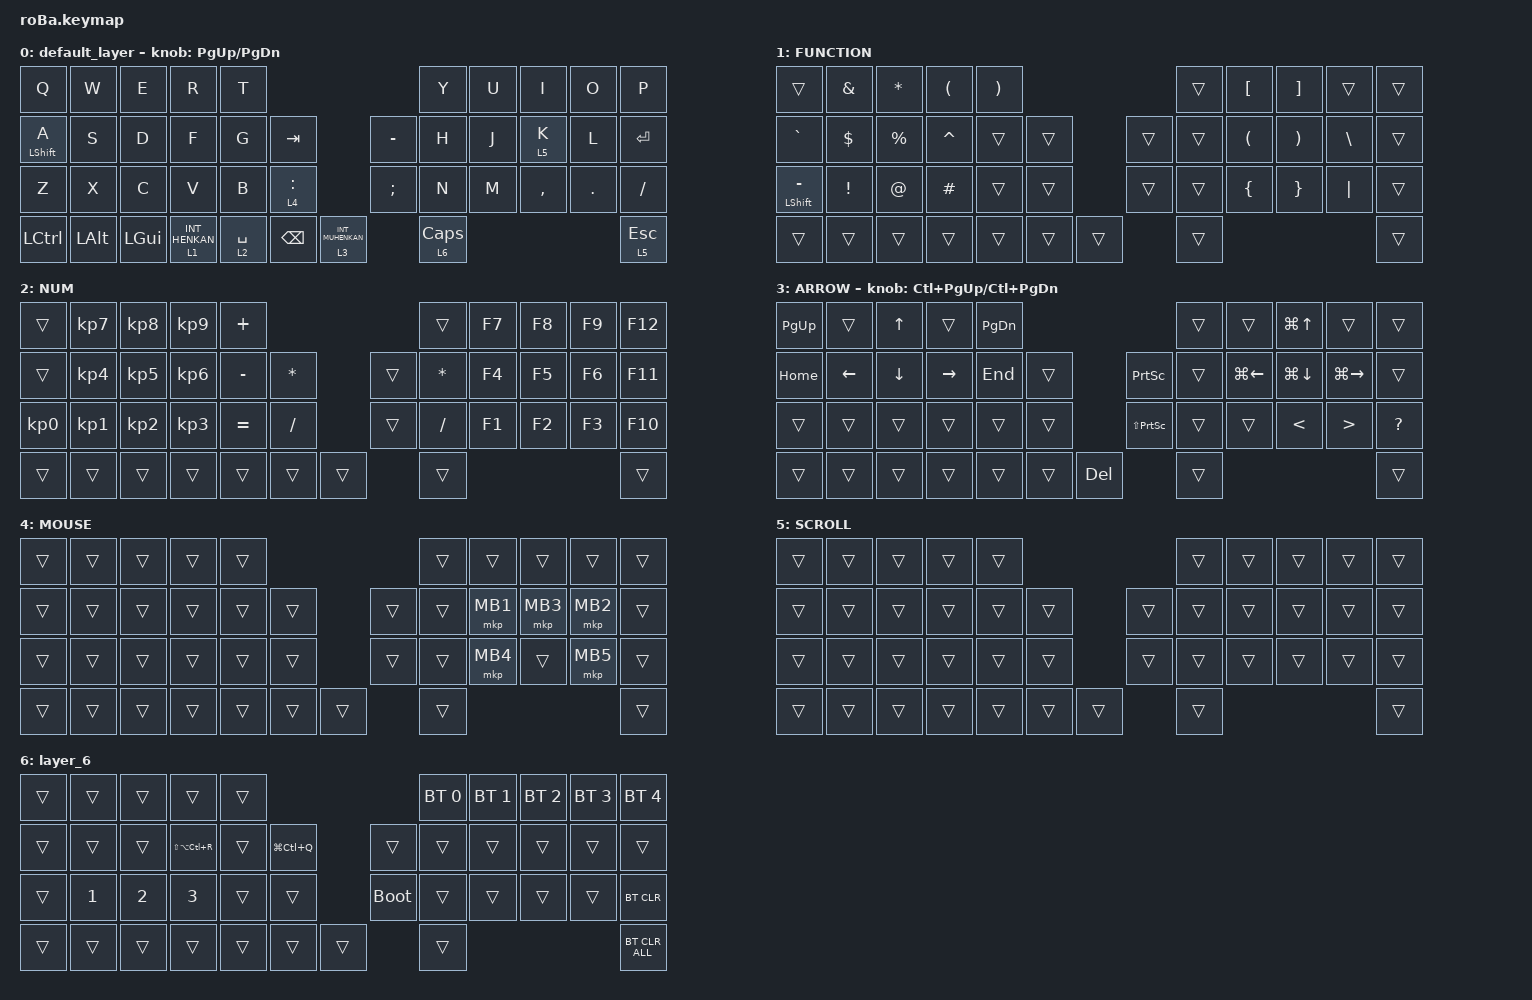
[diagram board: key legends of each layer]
#include <behaviors.dtsi>
#include <dt-bindings/zmk/bt.h>
#include <dt-bindings/zmk/keys.h>
#include <dt-bindings/zmk/pointing.h>

&mt {
    flavor = "balanced";
    quick-tap-ms = <0>;
};

&trackball {
    automouse-layer = <4>;
    scroll-layers = <5>;

    // arrows {
    //     layers = <3>;
    //     bindings =
    //         <&kp RIGHT_ARROW>,
    //         <&kp LEFT_ARROW>,
    //         <&kp UP_ARROW>,
    //         <&kp DOWN_ARROW>;
    //     tick = <10>;
    //     wait-ms = <5>;
    //     tap-ms = <5>;
    // };
};

/ {
    combos {
        compatible = "zmk,combos";

        tab {
            bindings = <&kp TAB>;
            key-positions = <11 12>;
        };

        shift_tab {
            bindings = <&kp LS(TAB)>;
            key-positions = <12 13>;
        };

        nyuuryoku {
            bindings = <&to_layer_0 CLCK>;
            key-positions = <24 25>;
        };

        double_quotation {
            bindings = <&kp DOUBLE_QUOTES>;
            key-positions = <31 32>;
        };

        eq {
            bindings = <&kp EQUAL>;
            key-positions = <30 31>;
        };

        apostrophe {
            bindings = <&kp APOSTROPHE>;
            key-positions = <19 20>;
        };

        onbiki {
            bindings = <&kp MINUS>;
            key-positions = <18 19>;
        };
    };

    macros {
        to_layer_0: to_layer_0 {
            compatible = "zmk,behavior-macro-one-param";
            #binding-cells = <1>;
            bindings = <&to 0 &macro_param_1to1 &kp MACRO_PLACEHOLDER>;
            label = "TO_LAYER_0";
        };
    };

    behaviors {
        lt_to_layer_0: lt_to_layer_0 {
            compatible = "zmk,behavior-hold-tap";
            label = "LAYER_TAP_TO_0";
            bindings = <&mo>, <&to_layer_0>;

            #binding-cells = <2>;
            tapping-term-ms = <200>;
        };
    };

    keymap {
        compatible = "zmk,keymap";

        default_layer {
            bindings = <
&kp Q             &kp W         &kp E         &kp R                        &kp T                                                            &kp Y       &kp U  &kp I       &kp O    &kp P
&mt LEFT_SHIFT A  &kp S         &kp D         &kp F                        &kp G        &kp TAB                            &kp MINUS        &kp H       &kp J  &lt 5 K    &kp L    &kp ENTER
&kp Z             &kp X         &kp C         &kp V                        &kp B        &lt 4 COLON                        &kp SEMICOLON    &kp N       &kp M  &kp COMMA  &kp DOT  &kp SLASH
&kp LCTRL         &kp LEFT_ALT  &kp LEFT_GUI  &lt_to_layer_0 1 INT_HENKAN  &lt 2 SPACE  &kp BACKSPACE      &lt_to_layer_0 3 INT_MUHENKAN  &lt 6 CLCK                             &lt 5 ESC
            >;

            sensor-bindings = <&inc_dec_kp PG_UP PAGE_DOWN>;
        };

        FUNCTION {
            bindings = <
&trans                &kp AMPERSAND    &kp ASTERISK  &kp LEFT_PARENTHESIS  &kp RIGHT_PARENTHESIS                      &trans  &kp LEFT_BRACKET      &kp RIGHT_BRACKET      &trans         &trans
&kp GRAVE             &kp DOLLAR       &kp PERCENT   &kp CARET             &trans                 &trans      &trans  &trans  &kp LEFT_PARENTHESIS  &kp RIGHT_PARENTHESIS  &kp BACKSLASH  &trans
&mt LEFT_SHIFT MINUS  &kp EXCLAMATION  &kp AT_SIGN   &kp HASH              &trans                 &trans      &trans  &trans  &kp LEFT_BRACE        &kp RIGHT_BRACE        &kp PIPE       &trans
&trans                &trans           &trans        &trans                &trans                 &trans      &trans  &trans                                                              &trans
            >;
        };

        NUM {
            bindings = <
&trans           &kp KP_NUMBER_7  &kp KP_NUMBER_8  &kp KP_NUMBER_9  &kp PLUS                             &trans        &kp F7  &kp F8  &kp F9  &kp F12
&trans           &kp KP_NUMBER_4  &kp KP_NUMBER_5  &kp KP_NUMBER_6  &kp MINUS  &kp ASTERISK      &trans  &kp ASTERISK  &kp F4  &kp F5  &kp F6  &kp F11
&kp KP_NUMBER_0  &kp KP_NUMBER_1  &kp KP_NUMBER_2  &kp KP_NUMBER_3  &kp EQUAL  &kp SLASH         &trans  &kp SLASH     &kp F1  &kp F2  &kp F3  &kp F10
&trans           &trans           &trans           &trans           &trans     &trans            &trans  &trans                                &trans
            >;
        };

        ARROW {
            bindings = <
&kp PG_UP  &trans          &kp UP_ARROW    &trans           &kp PAGE_DOWN                                   &trans  &trans        &kp LG(UP_ARROW)  &trans         &trans
&kp HOME   &kp LEFT_ARROW  &kp DOWN_ARROW  &kp RIGHT_ARROW  &kp END        &trans      &kp PSCRN            &trans  &kp LG(LEFT)  &kp LG(DOWN)      &kp LG(RIGHT)  &trans
&trans     &trans          &trans          &trans           &trans         &trans      &kp LS(PRINTSCREEN)  &trans  &trans        &kp LESS_THAN     &kp GREATER_THAN  &kp QUESTION
&trans     &trans          &trans          &trans           &trans         &trans      &kp DEL              &trans                                                 &trans
            >;

            sensor-bindings = <&inc_dec_kp LC(PAGE_UP) LC(PAGE_DOWN)>;
        };

        MOUSE {
            bindings = <
&trans  &trans  &trans  &trans  &trans                      &trans  &trans    &trans    &trans    &trans
&trans  &trans  &trans  &trans  &trans  &trans      &trans  &trans  &mkp MB1  &mkp MB3  &mkp MB2  &trans
&trans  &trans  &trans  &trans  &trans  &trans      &trans  &trans  &mkp MB4  &trans    &mkp MB5  &trans
&trans  &trans  &trans  &trans  &trans  &trans      &trans  &trans                                &trans
            >;
        };

        SCROLL {
            bindings = <
&trans  &trans  &trans  &trans  &trans                      &trans  &trans  &trans  &trans  &trans
&trans  &trans  &trans  &trans  &trans  &trans      &trans  &trans  &trans  &trans  &trans  &trans
&trans  &trans  &trans  &trans  &trans  &trans      &trans  &trans  &trans  &trans  &trans  &trans
&trans  &trans  &trans  &trans  &trans  &trans      &trans  &trans                          &trans
            >;
        };

        layer_6 {
            bindings = <
&trans  &trans        &trans        &trans             &trans                                  &bt BT_SEL 0  &bt BT_SEL 1  &bt BT_SEL 2  &bt BT_SEL 3  &bt BT_SEL 4
&trans  &trans        &trans        &kp LS(LA(LC(R)))  &trans  &kp LG(LC(Q))      &trans       &trans        &trans        &trans        &trans        &trans
&trans  &kp NUMBER_1  &kp NUMBER_2  &kp NUMBER_3       &trans  &trans             &bootloader  &trans        &trans        &trans        &trans        &bt BT_CLR
&trans  &trans        &trans        &trans             &trans  &trans             &trans       &trans                                                  &bt BT_CLR_ALL
            >;
        };
    };
};
